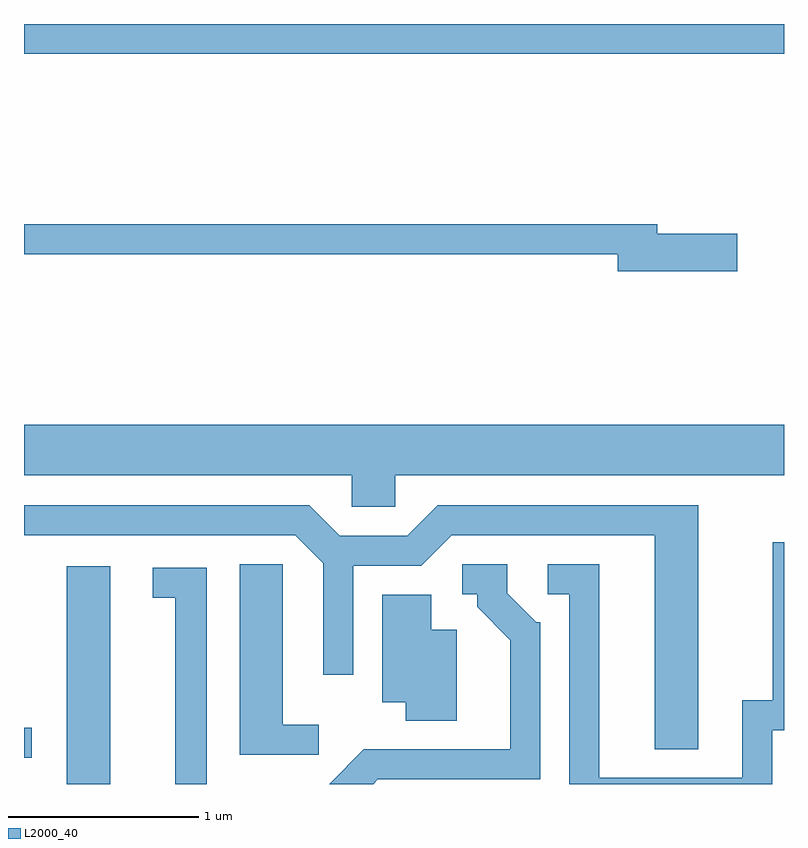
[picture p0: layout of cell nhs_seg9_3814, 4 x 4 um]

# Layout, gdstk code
import gdstk
lib = gdstk.Library(unit=1e-6, precision=1e-09)
def R(c, l, rs):  # rectangles x0, y0, x1, y1
    for r in rs: c.add(gdstk.rectangle(r[:2], r[2:], *l))
def P(c, l, *ps):  # polygons
    for p in ps: c.add(gdstk.Polygon(p, *l))
L2000_40 = (2000, 40)

nhs_seg9_3814 = lib.new_cell('nhs_seg9_3814')
R(nhs_seg9_3814, L2000_40, [(297.836,1972.432,298.064,1973.579), (297.611,1972.571,297.653,1972.729), (297.611,1976.276,301.611,1976.432)])
P(nhs_seg9_3814, L2000_40, [(301.364,1975.329),(300.944,1975.329),(300.944,1975.379),(297.611,1975.379),(297.611,1975.221),(300.736,1975.221),(300.736,1975.131),(301.364,1975.131)],
  [(299.564,1974.056),(301.611,1974.056),(301.611,1974.324),(297.611,1974.324),(297.611,1974.056),(299.336,1974.056),(299.336,1973.891),(299.564,1973.891)],
  [(301.159,1973.899),(299.789,1973.899),(299.629,1973.739),(299.272,1973.739),(299.112,1973.899),(297.611,1973.899),(297.611,1973.741),(299.039,1973.741),(299.186,1973.594),(299.186,1973.008),(299.344,1973.008),(299.344,1973.581),(299.702,1973.581),(299.862,1973.741),(300.931,1973.741),(300.931,1972.616),(301.159,1972.616)],
  [(301.549,1972.716),(301.611,1972.716),(301.611,1973.704),(301.551,1973.704),(301.551,1972.874),(301.391,1972.874),(301.391,1972.464),(300.639,1972.464),(300.639,1973.589),(300.368,1973.589),(300.368,1973.431),(300.481,1973.431),(300.481,1972.432),(301.549,1972.432)],
  [(299.163,1972.744),(298.974,1972.744),(298.974,1973.589),(298.746,1973.589),(298.746,1972.586),(299.163,1972.586)],
  [(299.472,1972.456),(300.329,1972.456),(300.329,1973.284),(300.307,1973.284),(300.154,1973.437),(300.154,1973.589),(299.918,1973.589),(299.918,1973.431),(299.996,1973.431),(299.996,1973.364),(300.171,1973.189),(300.171,1972.614),(299.399,1972.614),(299.217,1972.432),(299.448,1972.432)],
  [(298.574,1973.569),(298.288,1973.569),(298.288,1973.411),(298.406,1973.411),(298.406,1972.432),(298.574,1972.432)],
  [(299.889,1973.244),(299.754,1973.244),(299.754,1973.429),(299.496,1973.429),(299.496,1972.861),(299.621,1972.861),(299.621,1972.766),(299.889,1972.766)])

lib.write_gds('nhs_seg9_3814.gds')
